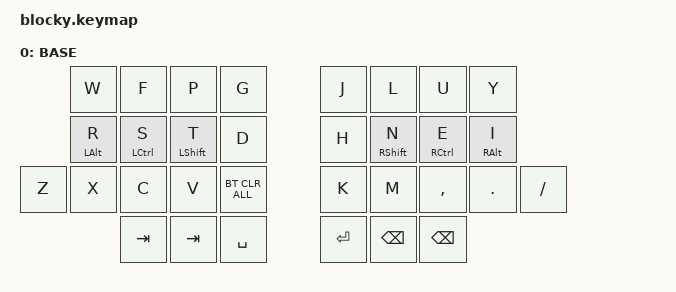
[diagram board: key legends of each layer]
//
//                                                                      ▀  ▀  ▀
//
// ▄▄▄▄▄▄▄▄▄▄▄▄▄▄▄▄▄▄▄▄▄▄▄▄▄▄▄▄▄▄▄▄▄▄▄▄▄▄▄▄▄▄▄▄▄▄▄▄▄▄▄▄▄▄▄▄▄▄▄▄▄▄▄▄▄▄▄▄▄▄▄▄▄▄▄▄▄▄▄▄▄▄▄▄▄▄▄▄▄▄▄▄▄▄▄▄▄▄▄▄▄▄▄▄▄▄▄▄▄▄▄▄▄▄▄▄▄▄▄▄▄▄▄▄▄▄▄▄▄▄▄▄▄▄▄▄▄▄▄▄▄▄▄▄▄▄▄▄▄


#include <behaviors.dtsi>
#include <dt-bindings/zmk/keys.h>
#include <dt-bindings/zmk/bt.h>
#include <dt-bindings/zmk/outputs.h>

#define BASE 0

#define HAS_MOUSE_KEYS
#define HAS_MOUSE_TP

#ifdef HAS_MOUSE_KEYS
  #include <dt-bindings/zmk/mouse.h>
  #include <behaviors/mouse_keys.dtsi>
#endif  // HAS_MOUSE_KEYS

#ifdef HAS_MOUSE_TP
  // We store the trackpoint settings in a separate file
  // to make organization a little easier.
  #include "include/mouse_tp.dtsi"
#endif  // HAS_MOUSE_TP



&mt {
  quick-tap-ms = <100>;
  global-quick-tap;
  flavor = "tap-preferred";
  tapping-term-ms = <170>;
};

/ {
    combos {
            compatible = "zmk,combos";
            combo_esc {
                timeout-ms = <50>;
                key-positions = <0 1>;
                bindings = <&kp ESC>;
            };
    };

    macros {
        gif: gif {
            label = "giphy";
            compatible = "zmk,behavior-macro";
            #binding-cells = <0>;
            bindings
                = <&macro_press &kp LSHFT>
                , <&macro_tap &kp N2>
                , <&macro_release &kp LSHFT>
                , <&macro_tap &kp G &kp I &kp F>
                ;
        };
    };

        keymap {
                compatible = "zmk,keymap";
// ▄▄▄▄▄▄▄▄▄▄▄▄▄▄▄▄▄▄▄▄▄▄▄▄▄▄▄▄▄▄▄▄▄▄▄▄▄▄▄▄▄▄▄▄▄▄▄▄▄▄▄▄▄▄▄▄▄▄▄▄▄▄▄▄▄▄▄▄▄▄▄▄▄▄▄▄▄▄▄▄▄▄▄▄▄▄▄▄▄▄▄▄▄▄▄▄▄▄▄▄▄▄▄▄▄▄▄▄▄▄▄▄▄▄▄▄▄▄▄▄▄▄▄▄▄▄▄▄▄▄▄▄▄▄▄▄▄▄▄▄▄▄▄▄▄▄▄▄▄

                base_layer {
// ┏━━━━━━━━━━━━━━━━━━━━━━━━━━━━━━━━━━━━━━━┓
label= "BASE"                              ;
// ┗━━━━━━━━━━━━━━━━━━━━━━━━━━━━━━━━━━━━━━━┛
//             ┏━━━━━━━━━━━┳━━━━━━━━━━━┳━━━━━━━━━━━┳━━━━━━━━━━━┳━━━━━━━━━━━┓   ┏━━━━━━━━━━━┳━━━━━━━━━━━┳━━━━━━━━━━━┳━━━━━━━━━━━┳━━━━━━━━━━━┓
//             ┃     Q     ┃     W     ┃     F     ┃     P     ┃     G     ┃   ┃     J     ┃     L     ┃     U     ┃     Y     ┃     ;     ┃
//             ┣━━━━━━━━━━━╋━━━━━━━━━━━╋━━━━━━━━━━━╋━━━━━━━━━━━╋━━━━━━━━━━━┫   ┣━━━━━━━━━━━╋━━━━━━━━━━━╋━━━━━━━━━━━╋━━━━━━━━━━━╋━━━━━━━━━━━┫
//             ┃     A     ┃     R     ┃     S     ┃     T     ┃     D     ┃   ┃     H     ┃     N     ┃     E     ┃     I     ┃     O     ┃
// ┏━━━━━━━━━━━╋━━━━━━━━━━━╋━━━━━━━━━━━╋━━━━━━━━━━━╋━━━━━━━━━━━╋━━━━━━━━━━━┫   ┣━━━━━━━━━━━╋━━━━━━━━━━━╋━━━━━━━━━━━╋━━━━━━━━━━━╋━━━━━━━━━━━╋━━━━━━━━━━━┓
// ┃           ┃     Z     ┃     X     ┃     C     ┃     V     ┃     B     ┃   ┃     K     ┃     M     ┃     ,     ┃     .     ┃     /     ┃           ┃
// ┗━━━━━━━━━━━┻━━━━━━━━━━━┻━━━━━━━━━━━╋━━━━━━━━━━━╋━━━━━━━━━━━╋━━━━━━━━━━━┫   ┣━━━━━━━━━━━╋━━━━━━━━━━━╋━━━━━━━━━━━╋━━━━━━━━━━━┻━━━━━━━━━━━┻━━━━━━━━━━━┛
//                                     ┃           ┃    TAB    ┃    SPC    ┃   ┃   ENTER   ┃   BSPC    ┃           ┃
//                                     ┗━━━━━━━━━━━┻━━━━━━━━━━━┻━━━━━━━━━━━┛   ┗━━━━━━━━━━━┻━━━━━━━━━━━┻━━━━━━━━━━━┛
 bindings = <
// ╷           ╷           ╷           ╷           ╷           ╷           ╷   ╷           ╷           ╷           ╷           ╷           ╷           ╷

                &kp W       &kp F       &kp P       &kp G                    &kp J       &kp L       &kp U       &kp Y
                &mt LALT R  &mt LCTRL S &mt LSHFT T &kp D                    &kp H       &mt RSHFT N &mt RCTRL E &mt RALT I
    &kp Z       &kp X       &kp C       &kp V       &bt BT_CLR_ALL           &kp K       &kp M       &kp COMMA   &kp DOT    &kp FSLH
                            &kp TAB     &kp TAB     &kp SPACE                &kp RET     &kp BSPC    &kp BSPC

                        >;
                };
        };
};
